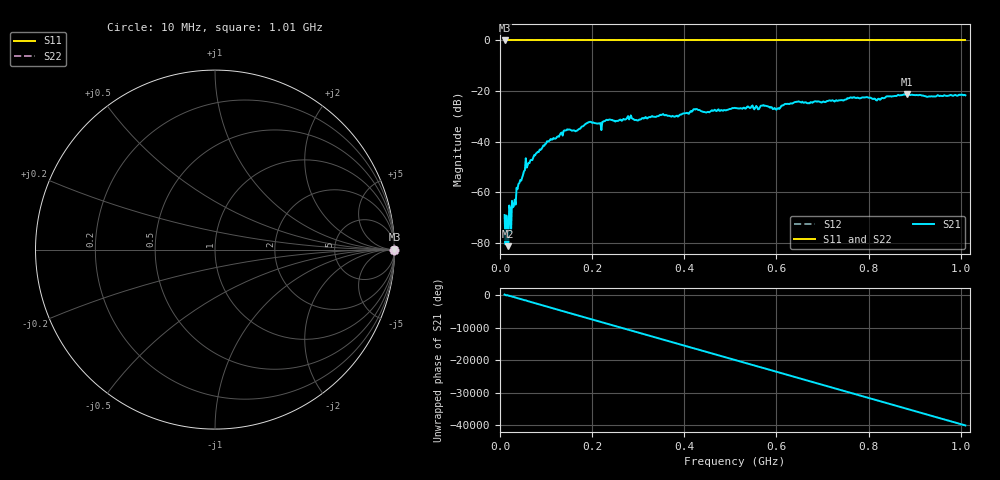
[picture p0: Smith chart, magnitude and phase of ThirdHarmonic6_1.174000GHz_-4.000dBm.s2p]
! 8/16/2025 11:54:54 AM
! C:\ANRITSUVNA\TEMP\TEMP.S2P
! CHANNEL.1
! TR.MEASUREMENT
! RAW.DATA
! RF.CORRECTION.OFF
! AVERAGING.OFF
! IF.BANDWIDTH: 5KHZ
! SWEEPTYPE:  FREQ.SWEEP(Linear)
! Reference Plane Port Info
! PORT:  PORT1  PORT2
! DISTANCE:  0  m  0  m
! TIME:  0  s  0  s
! PHASE.OFFSET:  0  deg.  0  deg.
! LOSS:  0  dB  0  dB
! REF.LOSS:  0  dB  0  dB
! REF.FREQ:  0  Hz  0  Hz
! Power Info
! POWER:  -20  dBm  -20  dBm
! EFF.POWER:  -20  dBm  -20  dBm
! SOURCE.ATTEN:  0  dB  0  dB
! TEST.ATTEN:  0  dB  0  dB
# GHZ S RI R 50.0
! FREQ.GHZ  S11RE  S11IM  S21RE  S21IM  S12RE  S12IM  S22RE  S22IM
!; PortSelection: Port_12
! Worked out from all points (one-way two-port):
!   501 points, 10 MHz to 1.01 GHz, reference 50 ohm
!   highest |S21| = -21.31 dB at 884 MHz (marker M1); lowest = -81.4 dB at 18 MHz (marker M2)
!   lowest |S11| = 0.0 dB at 10 MHz (marker M3)
!   |S11| at or under -10 dB: nowhere
!   |S22| runs from 0.0 to 0.0 dB; largest |S21 - S12| = 1.1
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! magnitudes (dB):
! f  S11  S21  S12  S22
! 10 MHz  0.0  -69.0  0.0  0.0
! 14 MHz  0.0  -69.2  0.0  0.0
! 18 MHz  0.0  -81.4  0.0  0.0
! 20 MHz  0.0  -65.3  0.0  0.0
! 24 MHz  0.0  -75.8  0.0  0.0
! 28 MHz  0.0  -66.0  0.0  0.0
! 40 MHz  0.0  -56.8  0.0  0.0
! 60 MHz  0.0  -49.3  0.0  0.0
! 106 MHz  0.0  -39.9  0.0  0.0
! 142 MHz  0.0  -35.6  0.0  0.0
! 178 MHz  0.0  -34.0  0.0  0.0
! 194 MHz  0.0  -32.2  0.0  0.0
! 216 MHz  0.0  -32.8  0.0  0.0
! 234 MHz  0.0  -31.5  0.0  0.0
! 344 MHz  0.0  -29.9  0.0  0.0
! 510 MHz  0.0  -26.7  0.0  0.0
! 602 MHz  0.0  -26.9  0.0  0.0
! 644 MHz  0.0  -24.3  0.0  0.0
! 678 MHz  0.0  -24.6  0.0  0.0
! 844 MHz  0.0  -22.1  0.0  0.0
! 884 MHz  0.0  -21.3  0.0  0.0
! 1.01 GHz  0.0  -21.7  0.0  0.0
